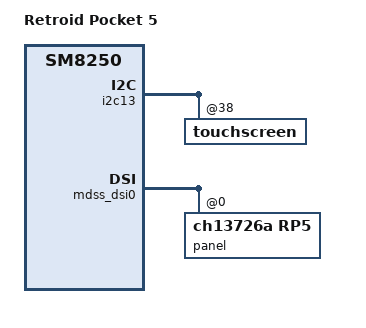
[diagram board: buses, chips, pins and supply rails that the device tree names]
// SPDX-License-Identifier: BSD-3-Clause
/*
 * Copyright (c) 2024, Retroid Pocket.
 */

/dts-v1/;

#include "sm8250-retroidpocket-common.dtsi"

/ {
	model = "Retroid Pocket 5";
	compatible = "retroidpocket,rp5", "qcom,sm8250";

	chosen {
		#address-cells = <2>;
		#size-cells = <2>;
		ranges;

		framebuffer: framebuffer@9c000000 {
			compatible = "simple-framebuffer";
			reg = <0x0 0x9c000000 0x0 0x2300000>;
			width = <1080>;
			height = <1920>;
			stride = <(1080 * 4)>;
			format = "a8r8g8b8";
		};
	};
};

&i2c13 {
	touchscreen@38 {
		touchscreen-size-x = <1080>;
		touchscreen-size-y = <1920>;
		touchscreen-inverted-x;
		touchscreen-inverted-y;
	};
};

&mdss_dsi0 {
	panel@0 {
		compatible = "ch13726a,rp5";
		rotation = <270>;
	};
};
